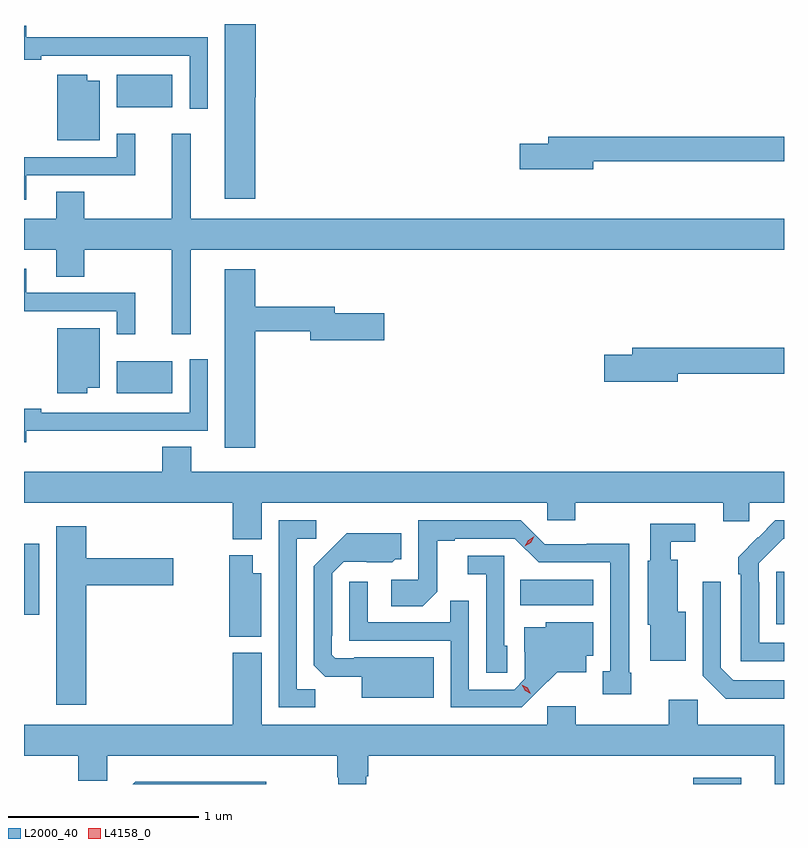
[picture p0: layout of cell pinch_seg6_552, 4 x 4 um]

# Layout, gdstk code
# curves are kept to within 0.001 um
import gdstk
lib = gdstk.Library(unit=1e-6, precision=1e-09)
def R(c, l, rs):  # rectangles x0, y0, x1, y1
    for r in rs: c.add(gdstk.rectangle(r[:2], r[2:], *l))
def P(c, l, *ps):  # polygons
    for p in ps: c.add(gdstk.Polygon(p, *l))
L2000_40 = (2000, 40)
L4158_0 = (4158, 0)

pinch_seg6_552 = lib.new_cell('pinch_seg6_552')
R(pinch_seg6_552, L2000_40, [(627.344,972.496,627.595,972.529), (627.779,973.337,627.821,973.612), (623.821,973.386,623.901,973.761), (626.434,973.436,626.818,973.57), (624.308,974.552,624.601,974.722), (624.308,976.058,624.601,976.228)])
P(pinch_seg6_552, L2000_40, [(625.037,976.11),(625.042,976.11),(625.042,976.496),(624.878,976.496),(624.878,975.576),(625.037,975.576)],
  [(624.789,976.425),(624.464,976.425),(624.464,976.427),(623.834,976.427),(623.834,976.486),(623.821,976.486),(623.821,976.309),(623.911,976.309),(623.911,976.329),(624.693,976.329),(624.693,976.05),(624.789,976.05)],
  [(624.22,976.198),(624.154,976.198),(624.154,976.228),(623.996,976.228),(623.996,975.884),(624.22,975.884)],
  [(624.698,975.308),(627.821,975.308),(627.821,975.472),(624.698,975.472),(624.698,975.919),(624.599,975.919),(624.599,975.472),(624.138,975.472),(624.138,975.614),(623.99,975.614),(623.99,975.472),(623.821,975.472),(623.821,975.308),(623.99,975.308),(623.99,975.166),(624.138,975.166),(624.138,975.308),(624.599,975.308),(624.599,974.862),(624.698,974.862)],
  [(623.833,975.699),(624.407,975.699),(624.407,975.919),(624.309,975.919),(624.309,975.795),(623.821,975.795),(623.821,975.572),(623.833,975.572)],
  [(626.818,975.774),(627.821,975.774),(627.821,975.902),(626.579,975.902),(626.579,975.866),(626.43,975.866),(626.43,975.731),(626.818,975.731)],
  [(624.407,975.081),(623.833,975.081),(623.833,975.208),(623.821,975.208),(623.821,974.985),(624.309,974.985),(624.309,974.862),(624.407,974.862)],
  [(625.037,974.878),(625.328,974.878),(625.328,974.831),(625.717,974.831),(625.717,974.973),(625.456,974.973),(625.456,975.007),(625.037,975.007),(625.037,975.205),(624.878,975.205),(624.878,974.265),(625.037,974.265)],
  [(624.154,974.582),(624.22,974.582),(624.22,974.896),(623.996,974.896),(623.996,974.552),(624.154,974.552)],
  [(627.262,974.656),(627.821,974.656),(627.821,974.792),(627.023,974.792),(627.023,974.756),(626.874,974.756),(626.874,974.614),(627.262,974.614)],
  [(623.834,974.354),(624.464,974.354),(624.464,974.355),(624.789,974.355),(624.789,974.731),(624.693,974.731),(624.693,974.451),(623.911,974.451),(623.911,974.471),(623.821,974.471),(623.821,974.295),(623.834,974.295)],
  [(625.072,973.976),(626.574,973.976),(626.574,973.883),(626.721,973.883),(626.721,973.976),(627.5,973.976),(627.5,973.878),(627.639,973.878),(627.639,973.976),(627.821,973.976),(627.821,974.14),(624.7,974.14),(624.7,974.27),(624.548,974.27),(624.548,974.14),(623.821,974.14),(623.821,973.976),(624.92,973.976),(624.92,973.784),(625.072,973.784)],
  [(627.821,973.239),(627.69,973.239),(627.69,973.559),(627.687,973.559),(627.687,973.659),(627.816,973.788),(627.821,973.788),(627.821,973.884),(627.776,973.884),(627.579,973.689),(627.579,973.601),(627.594,973.601),(627.594,973.143),(627.821,973.143)],
  [(625.353,972.995),(625.257,972.995),(625.257,973.788),(625.36,973.788),(625.36,973.884),(625.161,973.884),(625.161,972.9),(625.353,972.9)],
  [(627.017,973.081),(627.007,973.081),(627.007,973.76),(626.784,973.76),(626.784,973.758),(626.562,973.758),(626.436,973.884),(625.896,973.884),(625.896,973.572),(625.755,973.572),(625.755,973.432),(625.919,973.432),(625.995,973.508),(625.995,973.776),(626.089,973.776),(626.089,973.788),(626.403,973.788),(626.529,973.662),(626.906,973.662),(626.906,973.089),(626.867,973.089),(626.867,972.969),(627.017,972.969)],
  [(627.304,973.402),(627.262,973.402),(627.262,973.675),(627.226,973.675),(627.226,973.77),(627.355,973.77),(627.355,973.866),(627.117,973.866),(627.117,973.671),(627.104,973.671),(627.104,973.335),(627.116,973.335),(627.116,973.145),(627.304,973.145)],
  [(624.149,973.541),(624.607,973.541),(624.607,973.683),(624.149,973.683),(624.149,973.852),(623.99,973.852),(623.99,972.912),(624.149,972.912)],
  [(625.978,973.162),(625.558,973.162),(625.558,973.158),(625.458,973.158),(625.44,973.176),(625.44,973.276),(625.443,973.276),(625.443,973.605),(625.503,973.665),(625.76,973.664),(625.776,973.68),(625.807,973.68),(625.807,973.816),(625.519,973.816),(625.347,973.642),(625.347,973.12),(625.406,973.061),(625.598,973.061),(625.598,972.95),(625.978,972.95)],
  [(625.069,973.606),(625.024,973.606),(625.024,973.699),(624.902,973.699),(624.902,973.271),(625.069,973.271)],
  [(626.364,973.224),(626.349,973.224),(626.349,973.698),(626.157,973.698),(626.157,973.601),(626.253,973.601),(626.253,973.081),(626.364,973.081)],
  [(627.821,973.041),(627.555,973.041),(627.489,973.107),(627.489,973.561),(627.393,973.561),(627.393,973.065),(627.514,972.944),(627.821,972.944)],
  [(626.524,972.983),(626.627,973.085),(626.779,973.085),(626.779,973.172),(626.818,973.172),(626.818,973.348),(626.568,973.348),(626.568,973.321),(626.453,973.321),(626.453,973.192),(626.457,973.192),(626.457,973.05),(626.4,972.993),(626.163,972.993),(626.163,973.46),(626.065,973.46),(626.065,973.347),(625.629,973.347),(625.629,973.561),(625.533,973.561),(625.533,973.251),(626.067,973.251),(626.067,972.9),(626.44,972.9)],
  [(625.621,972.538),(625.634,972.538),(625.634,972.644),(627.773,972.644),(627.773,972.496),(627.821,972.496),(627.821,972.808),(627.366,972.808),(627.366,972.94),(627.215,972.94),(627.215,972.808),(626.726,972.808),(626.726,972.904),(626.574,972.904),(626.574,972.808),(625.072,972.808),(625.072,973.186),(624.92,973.186),(624.92,972.808),(623.821,972.808),(623.821,972.644),(624.107,972.644),(624.107,972.513),(624.258,972.513),(624.258,972.644),(625.469,972.644),(625.469,972.531),(625.474,972.531),(625.474,972.496),(625.621,972.496)],
  [(625.096,972.508),(624.406,972.508),(624.394,972.496),(625.096,972.496)])
P(pinch_seg6_552, L4158_0, [(626.457,973.747),(626.457,973.748),(626.475,973.78),(626.506,973.799),(626.506,973.799),(626.506,973.799),(626.489,973.766),(626.457,973.747)],
  [(626.489,972.972),(626.458,972.988),(626.441,973.018),(626.441,973.018),(626.442,973.018),(626.472,973.002),(626.489,972.972),(626.489,972.972)])

lib.write_gds('pinch_seg6_552.gds')
